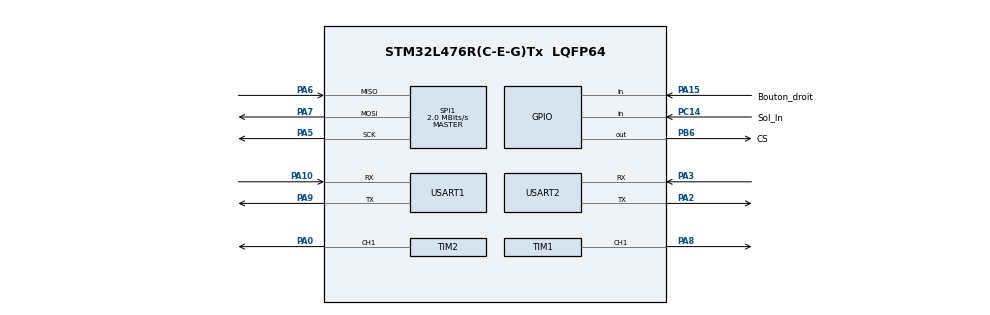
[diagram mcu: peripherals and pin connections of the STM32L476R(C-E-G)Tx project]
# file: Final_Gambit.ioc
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Dma.Request0=TIM1_CH1
Dma.Request1=TIM2_CH1
Dma.TIM1_CH1.0.Direction=DMA_MEMORY_TO_PERIPH
Dma.TIM1_CH1.0.Instance=DMA1_Channel2
Dma.TIM1_CH1.0.MemDataAlignment=DMA_MDATAALIGN_BYTE
Dma.TIM1_CH1.0.MemInc=DMA_MINC_ENABLE
Dma.TIM1_CH1.0.Mode=DMA_NORMAL
Dma.TIM1_CH1.0.PeriphDataAlignment=DMA_PDATAALIGN_WORD
Dma.TIM1_CH1.0.PeriphInc=DMA_PINC_DISABLE
Dma.TIM1_CH1.0.Priority=DMA_PRIORITY_HIGH
Dma.TIM2_CH1.1.Direction=DMA_MEMORY_TO_PERIPH
Dma.TIM2_CH1.1.Instance=DMA1_Channel5
Dma.TIM2_CH1.1.MemDataAlignment=DMA_MDATAALIGN_WORD
Dma.TIM2_CH1.1.MemInc=DMA_MINC_ENABLE
Dma.TIM2_CH1.1.Mode=DMA_NORMAL
Dma.TIM2_CH1.1.PeriphDataAlignment=DMA_PDATAALIGN_WORD
Dma.TIM2_CH1.1.PeriphInc=DMA_PINC_DISABLE
Dma.TIM2_CH1.1.Priority=DMA_PRIORITY_HIGH
Mcu.Family=STM32L4
Mcu.Name=STM32L476R(C-E-G)Tx
Mcu.Package=LQFP64
NVIC.DMA1_Channel2_IRQn=true\:0\:0\:false\:false\:true\:false\:true\:true
NVIC.DMA1_Channel5_IRQn=true\:0\:0\:false\:false\:true\:false\:true\:true
NVIC.PriorityGroup=NVIC_PRIORITYGROUP_4
PA0.Signal=S_TIM2_CH1
PA10.Mode=Asynchronous
PA10.Signal=USART1_RX
PA13\ (JTMS-SWDIO).Mode=Serial_Wire
PA13\ (JTMS-SWDIO).Signal=SYS_JTMS-SWDIO
PA14\ (JTCK-SWCLK).Mode=Serial_Wire
PA14\ (JTCK-SWCLK).Signal=SYS_JTCK-SWCLK
PA15\ (JTDI).GPIO_Label=Bouton_droit
PA15\ (JTDI).Signal=GPIO_Input
PA2.Mode=Asynchronous
PA2.Signal=USART2_TX
PA3.Mode=Asynchronous
PA3.Signal=USART2_RX
PA5.Mode=Full_Duplex_Master
PA5.Signal=SPI1_SCK
PA6.Mode=Full_Duplex_Master
PA6.Signal=SPI1_MISO
PA7.Mode=Full_Duplex_Master
PA7.Signal=SPI1_MOSI
PA8.Signal=S_TIM1_CH1
PA9.Mode=Asynchronous
PA9.Signal=USART1_TX
PB6.GPIO_Label=CS
PB6.Signal=GPIO_Output
PC14-OSC32_IN\ (PC14).GPIO_Label=Sol_In
PC14-OSC32_IN\ (PC14).Signal=GPIO_Input
ProjectManager.HeapSize=0x200
ProjectManager.StackSize=0x400
ProjectManager.TargetToolchain=STM32CubeIDE
RCC.HSE_VALUE=8000000
RCC.HSI_VALUE=16000000
RCC.LSE_VALUE=32768
RCC.MSI_VALUE=4000000
RCC.VCOOutputFreq_Value=32000000
SH.S_TIM1_CH1.0=TIM1_CH1,PWM Generation1 CH1
SH.S_TIM2_CH1.0=TIM2_CH1,PWM Generation1 CH1
SPI1.CalculateBaudRate=2.0 MBits/s
SPI1.Direction=SPI_DIRECTION_2LINES
SPI1.Mode=SPI_MODE_MASTER
SPI1.VirtualType=VM_MASTER
TIM1.Channel-PWM\ Generation1\ CH1=TIM_CHANNEL_1
TIM1.Period=19
TIM2.Channel-PWM\ Generation1\ CH1=TIM_CHANNEL_1
TIM2.Period=19
USART1.VirtualMode-Asynchronous=VM_ASYNC
USART2.VirtualMode-Asynchronous=VM_ASYNC
VP_TIM1_VS_ClockSourceINT.Mode=Internal
VP_TIM2_VS_ClockSourceINT.Mode=Internal
board=custom

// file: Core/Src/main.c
/* USER CODE BEGIN Header */
/**
  ******************************************************************************
  * @file           : main.c
  * @brief          : Main program body
  ******************************************************************************
  * @attention
  *
  * Copyright (c) 2026 STMicroelectronics.
  * All rights reserved.
  *
  * This software is licensed under terms that can be found in the LICENSE file
  * in the root directory of this software component.
  * If no LICENSE file comes with this software, it is provided AS-IS.
  *
  ******************************************************************************
  */
/* USER CODE END Header */
#include "main.h"

/* USER CODE BEGIN Includes */
#include <stdio.h>
#include <neopixel.h>

/* USER CODE END Includes */

/* USER CODE BEGIN PD */
#define SPI1_CS_Pin GPIO_PIN_6
#define SPI1_CS_Port GPIOB

uint8_t tx[16] = { 0 };     // dummy bytes to clock the slave
uint8_t rx[16] = { 0 };     // buffer for sensor data
uint16_t sensor[8];		  // nombre de capteurs
int score = 0; // Initialisation du compteur à 0
int deja_compte = 0; // Empêchera un effet rebond "flag"

#define CS_LOW()  HAL_GPIO_WritePin(SPI1_CS_Port, SPI1_CS_Pin, GPIO_PIN_RESET)
#define CS_HIGH() HAL_GPIO_WritePin(SPI1_CS_Port, SPI1_CS_Pin, GPIO_PIN_SET)
/* USER CODE END PD */

SPI_HandleTypeDef hspi1;

TIM_HandleTypeDef htim1;
TIM_HandleTypeDef htim2;
DMA_HandleTypeDef hdma_tim1_ch1;
DMA_HandleTypeDef hdma_tim2_ch1;

UART_HandleTypeDef huart1;
UART_HandleTypeDef huart2;

/* USER CODE BEGIN PV */
#define LED_NUMBER 7

/* USER CODE END PV */

void SystemClock_Config(void);
static void MX_DMA_Init(void);
static void MX_GPIO_Init(void);
static void MX_TIM1_Init(void);
static void MX_SPI1_Init(void);
static void MX_USART1_UART_Init(void);
static void MX_USART2_UART_Init(void);
static void MX_TIM2_Init(void);

/* USER CODE BEGIN 0 */
int __io_putchar(int ch) {
	HAL_UART_Transmit(&huart2, (uint8_t*) &ch, 1, HAL_MAX_DELAY);
	return ch;
}

void read_and_decode_sensors(void) {
    for (int i = 0; i < 8; i++) {
        uint8_t tx_buff[3];
        uint8_t rx_buff[3];

        // Construction de l'octet de commande pour MCP3208
        // Byte 0: Start bit (0x04)
        // Byte 1: Single/Diff + Channel D2, D1, D0
        // Pour MCP3208: Start=1, SGL=1, D2-D0=channel

#define START_BIT 0x04
#define SINGLE_BIT 0x02
#define D2_POS 0x01

        uint8_t d2 = ((i >> 2) & D2_POS);
        tx_buff[0] = START_BIT | SINGLE_BIT | d2; // Start bit + SGL + D2
        tx_buff[1] = (i << 6) & 0xC0;          // D1 + D0 + dummies
        tx_buff[2] = 0x00;                     // Dummy byte

        CS_LOW();
        // On envoie 3 octets pour recevoir la réponse d'un canal
        HAL_SPI_TransmitReceive(&hspi1, tx_buff, rx_buff, 3, 10);
        CS_HIGH();

        // Reconstruction sur 12 bits (les données chevauchent les octets 1 et 2)
        // MCP3208 : Les 4 derniers bits de rx[1] et tout rx[2]
        sensor[i] = ((rx_buff[1] & 0x0F) << 8) | rx_buff[2];

        // Petit délai pour laisser l'ADC respirer (optionnel selon vitesse SPI)
        // for(int k=0; k<100; k++);
    }
}

int print_sensors(void) {
	char buffer[100];
	int len = snprintf(buffer, sizeof(buffer),
			"S: %4d %4d %4d %4d %4d %4d %4d %4d\r\n", sensor[0], sensor[1],
			sensor[2], sensor[3], sensor[4], sensor[5], sensor[6], sensor[7]);
	//HAL_UART_Transmit(&huart2, (uint8_t*) buffer, len, HAL_MAX_DELAY);
	if (sensor[0]<1000 && deja_compte == 0){
		score+=1;
		deja_compte=1; //On bloque le comptage
		len = snprintf(buffer, sizeof(buffer), "Score: %d\n\r", score);
		HAL_UART_Transmit(&huart2, (uint8_t*) buffer, len, HAL_MAX_DELAY);
	}
	if (sensor[0]>1000){
		deja_compte=0; //On réautorise le comptage
	}
	if (sensor[1]<1000 && deja_compte == 0){
		score+=1;
		deja_compte=1; //On bloque le comptage
		len = snprintf(buffer, sizeof(buffer), "Score: %d\n\r", score);
		HAL_UART_Transmit(&huart2, (uint8_t*) buffer, len, HAL_MAX_DELAY);
	}
	if (sensor[1]>1000){
		deja_compte=0; //On réautorise le comptage
	}
	if (sensor[2]<1000 && deja_compte == 0){
		score+=1;
		deja_compte=1; //On bloque le comptage
		len = snprintf(buffer, sizeof(buffer), "Score: %d\n\r", score);
		HAL_UART_Transmit(&huart2, (uint8_t*) buffer, len, HAL_MAX_DELAY);
	}
	if (sensor[2]>1000){
		deja_compte=0; //On réautorise le comptage
	}
	if (sensor[3]<1000 && deja_compte == 0){
		score+=1;
		deja_compte=1; //On bloque le comptage
		len = snprintf(buffer, sizeof(buffer), "Score: %d\n\r", score);
		HAL_UART_Transmit(&huart2, (uint8_t*) buffer, len, HAL_MAX_DELAY);
	}
	if (sensor[3]>1000){
		deja_compte=0; //On réautorise le comptage
	}
	if (sensor[4]<1000 && deja_compte == 0){
		score+=1;
		deja_compte=1; //On bloque le comptage
		len = snprintf(buffer, sizeof(buffer), "Score: %d\n\r", score);
		HAL_UART_Transmit(&huart2, (uint8_t*) buffer, len, HAL_MAX_DELAY);
	}
	if (sensor[4]>1000){
		deja_compte=0; //On réautorise le comptage
	}
	if (sensor[5]<1000 && deja_compte == 0){
		score+=1;
		deja_compte=1; //On bloque le comptage
		len = snprintf(buffer, sizeof(buffer), "Score: %d\n\r", score);
		HAL_UART_Transmit(&huart2, (uint8_t*) buffer, len, HAL_MAX_DELAY);
	}
	if (sensor[5]>1000){
		deja_compte=0; //On réautorise le comptage
	}
	if (sensor[6]<1000 && deja_compte == 0){
		score+=1;
		deja_compte=1; //On bloque le comptage
		len = snprintf(buffer, sizeof(buffer), "Score: %d\n\r", score);
		HAL_UART_Transmit(&huart2, (uint8_t*) buffer, len, HAL_MAX_DELAY);
	}
	if (sensor[6]>1000){
		deja_compte=0; //On réautorise le comptage
	}
	if (sensor[7]<1000 && deja_compte == 0){
		score+=1;
		deja_compte=1; //On bloque le comptage
		len = snprintf(buffer, sizeof(buffer), "Score: %d\n\r", score);
		HAL_UART_Transmit(&huart2, (uint8_t*) buffer, len, HAL_MAX_DELAY);
	}
	if (sensor[7]>1000){
		deja_compte=0; //On réautorise le comptage
	}
	return score;
}
/* USER CODE END 0 */

int main(void)
{

  /* MCU Configuration--------------------------------------------------------*/

  /* Reset of all peripherals, Initializes the Flash interface and the Systick. */
  HAL_Init();

  /* Configure the system clock */
  SystemClock_Config();

  /* Initialize all configured peripherals */
  MX_DMA_Init();
  MX_GPIO_Init();
  MX_TIM1_Init();
  MX_SPI1_Init();
  MX_USART1_UART_Init();
  MX_USART2_UART_Init();
  MX_TIM2_Init();
  /* USER CODE BEGIN 2 */
  //CS_HIGH();

  HAL_TIM_Base_Start(&htim1);

  int red = 255;
  int green = 255;
  int blue = 255;
  const uint8_t digits[10][7]={{1,1,0,1,1,1,1},{0,0,0,1,0,0,1},
		  	  	  	  	  	{1,0,1,0,1,1,1},{1,0,1,1,1,0,1},
							{0,1,1,1,0,0,1},{1,1,1,1,1,0,0},
							{1,1,1,1,1,1,0},{1,0,1,1,0,0,1},
							{1,1,1,1,1,1,1},{1,1,1,1,1,0,1}};
  led_render();
  int result = 0;
  /* USER CODE END 2 */

  /* Infinite loop */
  /* USER CODE BEGIN WHILE */
  printf("Hello World \n\r");
  while (1)
  {
		read_and_decode_sensors();
		result += print_sensors();

		if (HAL_GPIO_ReadPin(Sol_In_GPIO_Port,Sol_In_Pin)){
				result+=1;
				HAL_Delay(50);
				printf("ding \n\r");
			}

		if (result>=10){
			  		  result=0;
			  	  }
			  	//for (int j=0; j < 6; j++){
		//printf("%d \n\r",result);
		for (int i = 0; i < LED_NUMBER; i++) {
	        if(digits[result][i]==1) {
	        	led_set_RGB(i,255,255,255);
	        }
	        else {
            led_set_RGB(i, 0, 0 , 0);
	        }
				    //}
		}
		led_render();
		HAL_Delay(10); //besoin ajustement (balle à 6m/s sur 3,4mm)
    /* USER CODE END WHILE */

  }
}

void SystemClock_Config(void)
{
  RCC_OscInitTypeDef RCC_OscInitStruct = {0};
  RCC_ClkInitTypeDef RCC_ClkInitStruct = {0};

  /** Configure the main internal regulator output voltage
  */
  if (HAL_PWREx_ControlVoltageScaling(PWR_REGULATOR_VOLTAGE_SCALE1) != HAL_OK)
  {
    Error_Handler();
  }

  /** Initializes the RCC Oscillators according to the specified parameters
  * in the RCC_OscInitTypeDef structure.
  */
  RCC_OscInitStruct.OscillatorType = RCC_OSCILLATORTYPE_MSI;
  RCC_OscInitStruct.MSIState = RCC_MSI_ON;
  RCC_OscInitStruct.MSICalibrationValue = 0;
  RCC_OscInitStruct.MSIClockRange = RCC_MSIRANGE_6;
  RCC_OscInitStruct.PLL.PLLState = RCC_PLL_NONE;
  if (HAL_RCC_OscConfig(&RCC_OscInitStruct) != HAL_OK)
  {
    Error_Handler();
  }

  /** Initializes the CPU, AHB and APB buses clocks
  */
  RCC_ClkInitStruct.ClockType = RCC_CLOCKTYPE_HCLK|RCC_CLOCKTYPE_SYSCLK
                              |RCC_CLOCKTYPE_PCLK1|RCC_CLOCKTYPE_PCLK2;
  RCC_ClkInitStruct.SYSCLKSource = RCC_SYSCLKSOURCE_MSI;
  RCC_ClkInitStruct.AHBCLKDivider = RCC_SYSCLK_DIV1;
  RCC_ClkInitStruct.APB1CLKDivider = RCC_HCLK_DIV1;
  RCC_ClkInitStruct.APB2CLKDivider = RCC_HCLK_DIV1;

  if (HAL_RCC_ClockConfig(&RCC_ClkInitStruct, FLASH_LATENCY_0) != HAL_OK)
  {
    Error_Handler();
  }
}

static void MX_SPI1_Init(void)
{

  /* SPI1 parameter configuration*/
  hspi1.Instance = SPI1;
  hspi1.Init.Mode = SPI_MODE_MASTER;
  hspi1.Init.Direction = SPI_DIRECTION_2LINES;
  hspi1.Init.DataSize = SPI_DATASIZE_4BIT;
  hspi1.Init.CLKPolarity = SPI_POLARITY_LOW;
  hspi1.Init.CLKPhase = SPI_PHASE_1EDGE;
  hspi1.Init.NSS = SPI_NSS_SOFT;
  hspi1.Init.BaudRatePrescaler = SPI_BAUDRATEPRESCALER_2;
  hspi1.Init.FirstBit = SPI_FIRSTBIT_MSB;
  hspi1.Init.TIMode = SPI_TIMODE_DISABLE;
  hspi1.Init.CRCCalculation = SPI_CRCCALCULATION_DISABLE;
  hspi1.Init.CRCPolynomial = 7;
  hspi1.Init.CRCLength = SPI_CRC_LENGTH_DATASIZE;
  hspi1.Init.NSSPMode = SPI_NSS_PULSE_ENABLE;
  if (HAL_SPI_Init(&hspi1) != HAL_OK)
  {
    Error_Handler();
  }

}

static void MX_TIM1_Init(void)
{

  TIM_ClockConfigTypeDef sClockSourceConfig = {0};
  TIM_MasterConfigTypeDef sMasterConfig = {0};
  TIM_OC_InitTypeDef sConfigOC = {0};
  TIM_BreakDeadTimeConfigTypeDef sBreakDeadTimeConfig = {0};

  htim1.Instance = TIM1;
  htim1.Init.Prescaler = 0;
  htim1.Init.CounterMode = TIM_COUNTERMODE_UP;
  htim1.Init.Period = 19;
  htim1.Init.ClockDivision = TIM_CLOCKDIVISION_DIV1;
  htim1.Init.RepetitionCounter = 0;
  htim1.Init.AutoReloadPreload = TIM_AUTORELOAD_PRELOAD_DISABLE;
  if (HAL_TIM_Base_Init(&htim1) != HAL_OK)
  {
    Error_Handler();
  }
  sClockSourceConfig.ClockSource = TIM_CLOCKSOURCE_INTERNAL;
  if (HAL_TIM_ConfigClockSource(&htim1, &sClockSourceConfig) != HAL_OK)
  {
    Error_Handler();
  }
  if (HAL_TIM_PWM_Init(&htim1) != HAL_OK)
  {
    Error_Handler();
  }
  sMasterConfig.MasterOutputTrigger = TIM_TRGO_RESET;
  sMasterConfig.MasterOutputTrigger2 = TIM_TRGO2_RESET;
  sMasterConfig.MasterSlaveMode = TIM_MASTERSLAVEMODE_DISABLE;
  if (HAL_TIMEx_MasterConfigSynchronization(&htim1, &sMasterConfig) != HAL_OK)
  {
    Error_Handler();
  }
  sConfigOC.OCMode = TIM_OCMODE_PWM1;
  sConfigOC.Pulse = 0;
  sConfigOC.OCPolarity = TIM_OCPOLARITY_HIGH;
  sConfigOC.OCNPolarity = TIM_OCNPOLARITY_HIGH;
  sConfigOC.OCFastMode = TIM_OCFAST_DISABLE;
  sConfigOC.OCIdleState = TIM_OCIDLESTATE_RESET;
  sConfigOC.OCNIdleState = TIM_OCNIDLESTATE_RESET;
  if (HAL_TIM_PWM_ConfigChannel(&htim1, &sConfigOC, TIM_CHANNEL_1) != HAL_OK)
  {
    Error_Handler();
  }
  sBreakDeadTimeConfig.OffStateRunMode = TIM_OSSR_DISABLE;
  sBreakDeadTimeConfig.OffStateIDLEMode = TIM_OSSI_DISABLE;
  sBreakDeadTimeConfig.LockLevel = TIM_LOCKLEVEL_OFF;
  sBreakDeadTimeConfig.DeadTime = 0;
  sBreakDeadTimeConfig.BreakState = TIM_BREAK_DISABLE;
  sBreakDeadTimeConfig.BreakPolarity = TIM_BREAKPOLARITY_HIGH;
  sBreakDeadTimeConfig.BreakFilter = 0;
  sBreakDeadTimeConfig.Break2State = TIM_BREAK2_DISABLE;
  sBreakDeadTimeConfig.Break2Polarity = TIM_BREAK2POLARITY_HIGH;
  sBreakDeadTimeConfig.Break2Filter = 0;
  sBreakDeadTimeConfig.AutomaticOutput = TIM_AUTOMATICOUTPUT_DISABLE;
  if (HAL_TIMEx_ConfigBreakDeadTime(&htim1, &sBreakDeadTimeConfig) != HAL_OK)
  {
    Error_Handler();
  }
  HAL_TIM_MspPostInit(&htim1);

}

static void MX_TIM2_Init(void)
{

  TIM_ClockConfigTypeDef sClockSourceConfig = {0};
  TIM_MasterConfigTypeDef sMasterConfig = {0};
  TIM_OC_InitTypeDef sConfigOC = {0};

  htim2.Instance = TIM2;
  htim2.Init.Prescaler = 0;
  htim2.Init.CounterMode = TIM_COUNTERMODE_UP;
  htim2.Init.Period = 19;
  htim2.Init.ClockDivision = TIM_CLOCKDIVISION_DIV1;
  htim2.Init.AutoReloadPreload = TIM_AUTORELOAD_PRELOAD_DISABLE;
  if (HAL_TIM_Base_Init(&htim2) != HAL_OK)
  {
    Error_Handler();
  }
  sClockSourceConfig.ClockSource = TIM_CLOCKSOURCE_INTERNAL;
  if (HAL_TIM_ConfigClockSource(&htim2, &sClockSourceConfig) != HAL_OK)
  {
    Error_Handler();
  }
  if (HAL_TIM_PWM_Init(&htim2) != HAL_OK)
  {
    Error_Handler();
  }
  sMasterConfig.MasterOutputTrigger = TIM_TRGO_RESET;
  sMasterConfig.MasterSlaveMode = TIM_MASTERSLAVEMODE_DISABLE;
  if (HAL_TIMEx_MasterConfigSynchronization(&htim2, &sMasterConfig) != HAL_OK)
  {
    Error_Handler();
  }
  sConfigOC.OCMode = TIM_OCMODE_PWM1;
  sConfigOC.Pulse = 0;
  sConfigOC.OCPolarity = TIM_OCPOLARITY_HIGH;
  sConfigOC.OCFastMode = TIM_OCFAST_DISABLE;
  if (HAL_TIM_PWM_ConfigChannel(&htim2, &sConfigOC, TIM_CHANNEL_1) != HAL_OK)
  {
    Error_Handler();
  }
  HAL_TIM_MspPostInit(&htim2);

}

static void MX_USART1_UART_Init(void)
{

  huart1.Instance = USART1;
  huart1.Init.BaudRate = 115200;
  huart1.Init.WordLength = UART_WORDLENGTH_8B;
  huart1.Init.StopBits = UART_STOPBITS_1;
  huart1.Init.Parity = UART_PARITY_NONE;
  huart1.Init.Mode = UART_MODE_TX_RX;
  huart1.Init.HwFlowCtl = UART_HWCONTROL_NONE;
  huart1.Init.OverSampling = UART_OVERSAMPLING_16;
  huart1.Init.OneBitSampling = UART_ONE_BIT_SAMPLE_DISABLE;
  huart1.AdvancedInit.AdvFeatureInit = UART_ADVFEATURE_NO_INIT;
  if (HAL_UART_Init(&huart1) != HAL_OK)
  {
    Error_Handler();
  }

}

static void MX_USART2_UART_Init(void)
{

  huart2.Instance = USART2;
  huart2.Init.BaudRate = 115200;
  huart2.Init.WordLength = UART_WORDLENGTH_8B;
  huart2.Init.StopBits = UART_STOPBITS_1;
  huart2.Init.Parity = UART_PARITY_NONE;
  huart2.Init.Mode = UART_MODE_TX_RX;
  huart2.Init.HwFlowCtl = UART_HWCONTROL_NONE;
  huart2.Init.OverSampling = UART_OVERSAMPLING_16;
  huart2.Init.OneBitSampling = UART_ONE_BIT_SAMPLE_DISABLE;
  huart2.AdvancedInit.AdvFeatureInit = UART_ADVFEATURE_NO_INIT;
  if (HAL_UART_Init(&huart2) != HAL_OK)
  {
    Error_Handler();
  }

}

static void MX_DMA_Init(void)
{

  /* DMA controller clock enable */
  __HAL_RCC_DMA1_CLK_ENABLE();

  /* DMA interrupt init */
  /* DMA1_Channel2_IRQn interrupt configuration */
  HAL_NVIC_SetPriority(DMA1_Channel2_IRQn, 0, 0);
  HAL_NVIC_EnableIRQ(DMA1_Channel2_IRQn);
  /* DMA1_Channel5_IRQn interrupt configuration */
  HAL_NVIC_SetPriority(DMA1_Channel5_IRQn, 0, 0);
  HAL_NVIC_EnableIRQ(DMA1_Channel5_IRQn);

}

static void MX_GPIO_Init(void)
{
  GPIO_InitTypeDef GPIO_InitStruct = {0};

  /* GPIO Ports Clock Enable */
  __HAL_RCC_GPIOC_CLK_ENABLE();
  __HAL_RCC_GPIOA_CLK_ENABLE();
  __HAL_RCC_GPIOB_CLK_ENABLE();

  /*Configure GPIO pin Output Level */
  HAL_GPIO_WritePin(CS_GPIO_Port, CS_Pin, GPIO_PIN_RESET);

  /*Configure GPIO pin : Sol_In_Pin */
  GPIO_InitStruct.Pin = Sol_In_Pin;
  GPIO_InitStruct.Mode = GPIO_MODE_INPUT;
  GPIO_InitStruct.Pull = GPIO_NOPULL;
  HAL_GPIO_Init(Sol_In_GPIO_Port, &GPIO_InitStruct);

  /*Configure GPIO pin : Bouton_droit_Pin */
  GPIO_InitStruct.Pin = Bouton_droit_Pin;
  GPIO_InitStruct.Mode = GPIO_MODE_INPUT;
  GPIO_InitStruct.Pull = GPIO_NOPULL;
  HAL_GPIO_Init(Bouton_droit_GPIO_Port, &GPIO_InitStruct);

  /*Configure GPIO pin : CS_Pin */
  GPIO_InitStruct.Pin = CS_Pin;
  GPIO_InitStruct.Mode = GPIO_MODE_OUTPUT_PP;
  GPIO_InitStruct.Pull = GPIO_NOPULL;
  GPIO_InitStruct.Speed = GPIO_SPEED_FREQ_LOW;
  HAL_GPIO_Init(CS_GPIO_Port, &GPIO_InitStruct);

}

void Error_Handler(void)
{
  __disable_irq();
  while (1)
  {
  }
}
